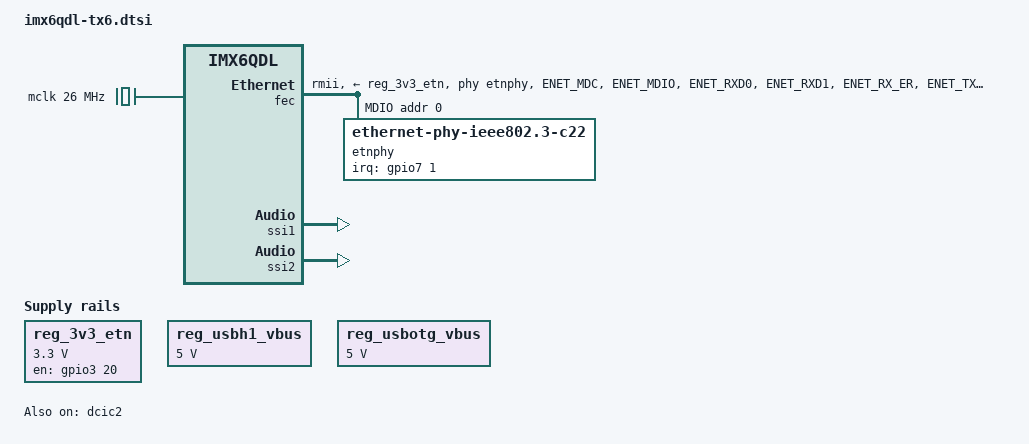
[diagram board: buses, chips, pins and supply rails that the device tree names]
/*
 * Copyright 2016 Lothar Waßmann <LW@KARO-electronics.de>
 * Copyright 2016-2017 Oliver Wendt <OW@KARO-electronics.de>
 * Copyright 2016 Michael Vyskocil <MV@KARO-electronics.de>
 *
 * This file is dual-licensed: you can use it either under the terms
 * of the GPL or the X11 license, at your option. Note that this dual
 * licensing only applies to this file, and not this project as a
 * whole.
 *
 *  a) This file is free software; you can redistribute it and/or
 *     modify it under the terms of the GNU General Public License
 *     version 2 as published by the Free Software Foundation.
 *
 *     This file is distributed in the hope that it will be useful,
 *     but WITHOUT ANY WARRANTY; without even the implied warranty of
 *     MERCHANTABILITY or FITNESS FOR A PARTICULAR PURPOSE.  See the
 *     GNU General Public License for more details.
 *
 * Or, alternatively,
 *
 *  b) Permission is hereby granted, free of charge, to any person
 *     obtaining a copy of this software and associated documentation
 *     files (the "Software"), to deal in the Software without
 *     restriction, including without limitation the rights to use,
 *     copy, modify, merge, publish, distribute, sublicense, and/or
 *     sell copies of the Software, and to permit persons to whom the
 *     Software is furnished to do so, subject to the following
 *     conditions:
 *
 *     The above copyright notice and this permission notice shall be
 *     included in all copies or substantial portions of the Software.
 *
 *     THE SOFTWARE IS PROVIDED "AS IS", WITHOUT WARRANTY OF ANY KIND,
 *     EXPRESS OR IMPLIED, INCLUDING BUT NOT LIMITED TO THE WARRANTIES
 *     OF MERCHANTABILITY, FITNESS FOR A PARTICULAR PURPOSE AND
 *     NONINFRINGEMENT. IN NO EVENT SHALL THE AUTHORS OR COPYRIGHT
 *     HOLDERS BE LIABLE FOR ANY CLAIM, DAMAGES OR OTHER LIABILITY,
 *     WHETHER IN AN ACTION OF CONTRACT, TORT OR OTHERWISE, ARISING
 *     FROM, OUT OF OR IN CONNECTION WITH THE SOFTWARE OR THE USE OR
 *     OTHER DEALINGS IN THE SOFTWARE.
 */

/*
 * Please be reminded that in general DTSI file(s) are include files that are
 * for more than one purpose (usually bound to a SoC) and as such shouldn't be
 * edited. For end-user products it should be the DTS file(s) that choose which
 * devices and pins are active and setup.
 *
 * The setup of DT files for Ka-Ro TX COM Modules under Yocto follow a
 * different, non-standard, implementation, which can make it necessary.
 */

#include <dt-bindings/gpio/gpio.h>
#include <dt-bindings/gpio/imx6qdl-tx6-gpio.h>
#include <dt-bindings/input/input.h>
#include <dt-bindings/pwm/pwm.h>

/*
 * Definitions for simpler referencing of TX's standard nodes
 */

/* On-board NVMe */
#define TX_EMMC		&usdhc4
#define TX_NAND		&gpmi
/* bus connectors */
#define TX_I2C		&i2c3
#define TX_CAN1		&can2
#define TX_CAN2		&can1
/* video & display */
#define TX_LCD		&lcd
#define TX_LCD_FB	&mxcfb0
#define TX_LDB		&ldb
#define TX_LDB_FB1	&mxcfb1
#define TX_LDB_FB2	&mxcfb2
#define TX_PWM		&pwm2
#define TX_PWM1		&pwm2	/* First  (1st) PWM used (TX's default) */
#define TX_PWM2		&pwm1	/* Second (2nd) PWM used */
/* NVM */
#define TX_SD1		&usdhc1
#define TX_SD2		&usdhc2
#define TX_SPI		&ecspi1
#define TX_SSI1		&audmux
#define TX_SSI_PIN	&pinctrl_ssi1
/* UART */
#define TX_UART1	&uart1
#define TX_UART2	&uart2
#define TX_UART3	&uart3
/* USB */
#define TX_USBH		&usbh1
#define TX_USBOTG	&usbotg

/ {
	aliases {
		can0 = &can2;
		can1 = &can1;
		emmc = &usdhc4;
		ethernet0 = &fec;
		sdhc0 = &usdhc1;
		sdhc1 = &usdhc2;
		usbh = &usbh1;
		usbotg = &usbotg;
	};

	memory {
		reg = <0 0>; /* will be filled by U-Boot */
	};

	/* override imx6dl.dtsi gpu clock definition bug */

	clocks {
		#address-cells = <1>;
		#size-cells = <0>;

		mclk: clock {
			compatible = "fixed-clock";
			#clock-cells = <0>;
			clock-frequency = <26000000>;
		};
	};

	chosen {
		stdout-path = TX_UART1;
	};

	regulators {
		compatible = "simple-bus";
		#address-cells = <1>;
		#size-cells = <0>;

		reg_3v3_etn: regulator-3v3etn {
			compatible = "regulator-fixed";
			regulator-name = "3V3_ETN";
			regulator-min-microvolt = <3300000>;
			regulator-max-microvolt = <3300000>;
			pinctrl-names = "default";
			pinctrl-0 = <&pinctrl_etnphy_power>;
			gpio = <&gpio3 20 GPIO_ACTIVE_HIGH>;
			enable-active-high;
		};

		reg_usbh1_vbus: regulator-usbh1vbus {
			compatible = "regulator-fixed";
			regulator-name = "usbh1_vbus";
			regulator-min-microvolt = <5000000>;
			regulator-max-microvolt = <5000000>;
			pinctrl-names = "default";
			pinctrl-0 = <&pinctrl_usbh1_vbus>;
			gpio = <TX_GPIO_PIN27 GPIO_ACTIVE_HIGH>;
			enable-active-high;
		};

		reg_usbotg_vbus: regulator-usbotgvbus {
			compatible = "regulator-fixed";
			regulator-name = "usbotg_vbus";
			regulator-min-microvolt = <5000000>;
			regulator-max-microvolt = <5000000>;
			pinctrl-names = "default";
			pinctrl-0 = <&pinctrl_usbotg_vbus>;
			gpio = <TX_GPIO_PIN34 GPIO_ACTIVE_HIGH>;
			enable-active-high;
		};
	};

	lcd: lcd@0 {
		status = "disabled";
	};

	mxcfb0: fb@0 {
		compatible = "fsl,mxc_sdc_fb";
		disp_dev = "lcd";
		interface_pix_fmt = "RGB24";
		default_bpp = <16>;
		int_clk = <0>;
		late_init = <0>;
		status = "disabled";
	};

	mxcfb1: fb@1 {
		compatible = "fsl,mxc_sdc_fb";
		disp_dev = "ldb";
		interface_pix_fmt = "RGB666";
		default_bpp = <16>;
		int_clk = <0>;
		late_init = <0>;
		status = "disabled";
	};

	mxcfb2: fb@2 {
		compatible = "fsl,mxc_sdc_fb";
		disp_dev = "ldb";
		interface_pix_fmt = "RGB666";
		default_bpp = <16>;
		int_clk = <0>;
		late_init = <0>;
		status = "disabled";
	};

	v4l2_cap_0 {
		compatible = "fsl,imx6q-v4l2-capture";
		ipu_id = <0>;
		csi_id = <0>;
		mclk_source = <0>;
		status = "disabled";
	};

	v4l2_cap_1 {
		compatible = "fsl,imx6q-v4l2-capture";
		ipu_id = <0>;
		csi_id = <1>;
		mclk_source = <0>;
		status = "disabled";
	};

	v4l2_out {
		compatible = "fsl,mxc_v4l2_output";
		status = "disabled";
	};
};

&can1 {
	pinctrl-names = "default";
	pinctrl-0 = <&pinctrl_flexcan1>;
	status = "disabled";
};

&can2 {
	pinctrl-names = "default";
	pinctrl-0 = <&pinctrl_flexcan2>;
	status = "disabled";
};

&clks {
	fsl,ldb-di0-parent = <&clks IMX6QDL_CLK_PLL2_PFD0_352M>;
	fsl,ldb-di1-parent = <&clks IMX6QDL_CLK_PLL2_PFD0_352M>;
};

&dcic2 {
	dcic_id = <1>;
	dcic_mux = "dcic-lvds1";
	status = "okay";
};

&ecspi1 {
	pinctrl-names = "default";
	pinctrl-0 = <&pinctrl_ecspi1>;
	fsl,spi-num-chipselects = <2>;
	cs-gpios = <
		TX_GPIO_PIN44 GPIO_ACTIVE_HIGH
		TX_GPIO_PIN45 GPIO_ACTIVE_HIGH
	>;
	status = "disabled";

	spidev0: spi@0 {
		compatible = "spidev";
		reg = <0>;
		spi-max-frequency = <54000000>;
	};

	spidev1: spi@1 {
		compatible = "spidev";
		reg = <1>;
		spi-max-frequency = <54000000>;
	};
};

&fec {
	pinctrl-names = "default";
	pinctrl-0 = <&pinctrl_enet>;
	clocks = <&clks IMX6QDL_CLK_ENET>,
		 <&clks IMX6QDL_CLK_ENET>,
		 <&clks IMX6QDL_CLK_ENET_REF>,
		 <&clks IMX6QDL_CLK_ENET_REF>;
	clock-names = "ipg", "ahb", "ptp", "enet_out";
	ref-clock = <50000000>;
	phy-mode = "rmii";
	phy-reset-gpios = <&gpio7 6 GPIO_ACTIVE_HIGH>;
	phy-handle = <&etnphy>;
	phy-supply = <&reg_3v3_etn>;
	status = "okay";

	mdio {
		#address-cells = <1>;
		#size-cells = <0>;

		etnphy: ethernet-phy@0 {
			compatible = "ethernet-phy-ieee802.3-c22";
			reg = <0>;
			interrupts-extended  = <&gpio7 1 IRQ_TYPE_EDGE_FALLING>;
			status = "okay";
		};
	};
};

&gpmi {
	pinctrl-names = "default";
	pinctrl-0 = <&pinctrl_gpmi_nand>;
	nand-on-flash-bbt;
	fsl,no-blockmark-swap;
	fsl,legacy-bch-geometry;
	status = "disabled";
};

&i2c3 {
	pinctrl-names = "default";
	pinctrl-0 = <&pinctrl_i2c3>;
	clock-frequency = <400000>;
	status = "disabled";
};

&pwm1 {
	pinctrl-names = "default";
	pinctrl-0 = <&pinctrl_pwm1>;
	status = "disabled";
};

&pwm2 {
	pinctrl-names = "default";
	pinctrl-0 = <&pinctrl_pwm2>;
	status = "disabled";
};

&reg_arm {
	/delete-property/ regulator-allow-bypass;
};

&reg_pu {
	/delete-property/ regulator-allow-bypass;
};

&reg_soc {
	/delete-property/ regulator-allow-bypass;
};

&snvs_poweroff {
	status = "okay";
};

&ssi1 {
	status = "okay";
};

&ssi2 {
	status = "okay";
};

&uart1 {
	pinctrl-names = "default";
	pinctrl-0 = <&pinctrl_uart1 &pinctrl_uart1_rtscts>;
	status = "disabled";
};

&uart2 {
	pinctrl-names = "default";
	pinctrl-0 = <&pinctrl_uart2 &pinctrl_uart2_rtscts>;
	status = "disabled";
};

&uart3 {
	pinctrl-names = "default";
	pinctrl-0 = <&pinctrl_uart3 &pinctrl_uart3_rtscts>;
	status = "disabled";
};

&usbotg {
	vbus-supply = <&reg_usbotg_vbus>;
	pinctrl-names = "default";
	pinctrl-0 = <&pinctrl_usbotg>;
	dr_mode = "peripheral";
	disable-over-current;
	status = "disabled";
};

&usbh1 {
	vbus-supply = <&reg_usbh1_vbus>;
	dr_mode = "host";
	disable-over-current;
	status = "disabled";
};

&usdhc1 {
	pinctrl-names = "default";
	pinctrl-0 = <&pinctrl_usdhc1>;
	bus-width = <4>;
	no-1-8-v;
	cd-gpios = <&gpio7 2 GPIO_ACTIVE_LOW>;
	fsl,wp-controller;
	status = "disabled";
};

&usdhc2 {
	pinctrl-names = "default";
	pinctrl-0 = <&pinctrl_usdhc2>;
	bus-width = <4>;
	no-1-8-v;
	cd-gpios = <&gpio7 3 GPIO_ACTIVE_LOW>;
	fsl,wp-controller;
	status = "disabled";
};

&usdhc4 {
	pinctrl-names = "default";
	pinctrl-0 = <&pinctrl_usdhc4>;
	bus-width = <4>;
	non-removable;
	no-1-8-v;
	fsl,wp-controller;
	status = "disabled";
};

&iomuxc {
	pinctrl-names = "default";
	pinctrl-0 = <&pinctrl_hog>;

	tx6 {
		pinctrl_hog: hoggrp {
			fsl,pins = <
				MX6QDL_PAD_SD3_DAT2__GPIO7_IO06		0x1b0b1 /* ETN PHY RESET */
				MX6QDL_PAD_SD3_DAT4__GPIO7_IO01		0x1b0b1 /* ETN PHY INT */
			>;
		};

		pinctrl_ssi1: audmuxgrp {
			fsl,pins = <
				MX6QDL_PAD_KEY_ROW1__AUD5_RXD		0x130b0 /* SSI1_RXD */
				MX6QDL_PAD_KEY_ROW0__AUD5_TXD		0x110b0 /* SSI1_TXD */
				MX6QDL_PAD_KEY_COL0__AUD5_TXC		0x130b0 /* SSI1_CLK */
				MX6QDL_PAD_KEY_COL1__AUD5_TXFS		0x130b0 /* SSI1_FS */
			>;
		};

		pinctrl_ecspi1: ecspi1grp {
			fsl,pins = <
				MX6QDL_PAD_EIM_D18__ECSPI1_MOSI		0x0b0b0
				MX6QDL_PAD_EIM_D17__ECSPI1_MISO		0x0b0b0
				MX6QDL_PAD_EIM_D16__ECSPI1_SCLK		0x0b0b0
				MX6QDL_PAD_GPIO_19__ECSPI1_RDY		0x0b0b0
				MX6QDL_PAD_EIM_EB2__GPIO2_IO30		0x0b0b0 /* SPI CS0 */
				MX6QDL_PAD_EIM_D19__GPIO3_IO19		0x0b0b0 /* SPI CS1 */
			>;
		};

		pinctrl_enet: enetgrp {
			fsl,pins = <
				MX6QDL_PAD_ENET_MDC__ENET_MDC		0x1b0b0
				MX6QDL_PAD_ENET_MDIO__ENET_MDIO		0x1b0b0
				MX6QDL_PAD_ENET_RXD0__ENET_RX_DATA0	0x1b0b0
				MX6QDL_PAD_ENET_RXD1__ENET_RX_DATA1	0x1b0b0
				MX6QDL_PAD_ENET_RX_ER__ENET_RX_ER	0x1b0b0
				MX6QDL_PAD_ENET_TX_EN__ENET_TX_EN	0x1b0b0
				MX6QDL_PAD_ENET_TXD0__ENET_TX_DATA0	0x1b0b0
				MX6QDL_PAD_ENET_TXD1__ENET_TX_DATA1	0x1b0b0
				MX6QDL_PAD_ENET_CRS_DV__ENET_RX_EN	0x1b0b0
			>;
		};

		pinctrl_etnphy_power: etnphy-pwrgrp {
			fsl,pins = <
				MX6QDL_PAD_EIM_D20__GPIO3_IO20		0x1b0b1 /* ETN PHY POWER */
			>;
		};

		pinctrl_flexcan1: flexcan1grp {
			fsl,pins = <
				MX6QDL_PAD_GPIO_7__FLEXCAN1_TX		0x1b0b0
				MX6QDL_PAD_GPIO_8__FLEXCAN1_RX		0x1b0b0
			>;
		};

		pinctrl_flexcan2: flexcan2grp {
			fsl,pins = <
				MX6QDL_PAD_KEY_COL4__FLEXCAN2_TX	0x1b0b0
				MX6QDL_PAD_KEY_ROW4__FLEXCAN2_RX	0x1b0b0
			>;
		};

		pinctrl_gpmi_nand: gpminandgrp {
			fsl,pins = <
				MX6QDL_PAD_NANDF_CLE__NAND_CLE		0x0b0b1
				MX6QDL_PAD_NANDF_ALE__NAND_ALE		0x0b0b1
				MX6QDL_PAD_NANDF_WP_B__NAND_WP_B	0x0b0b1
				MX6QDL_PAD_NANDF_RB0__NAND_READY_B	0x0b000
				MX6QDL_PAD_NANDF_CS0__NAND_CE0_B	0x0b0b1
				MX6QDL_PAD_SD4_CMD__NAND_RE_B		0x0b0b1
				MX6QDL_PAD_SD4_CLK__NAND_WE_B		0x0b0b1
				MX6QDL_PAD_NANDF_D0__NAND_DATA00	0x0b0b1
				MX6QDL_PAD_NANDF_D1__NAND_DATA01	0x0b0b1
				MX6QDL_PAD_NANDF_D2__NAND_DATA02	0x0b0b1
				MX6QDL_PAD_NANDF_D3__NAND_DATA03	0x0b0b1
				MX6QDL_PAD_NANDF_D4__NAND_DATA04	0x0b0b1
				MX6QDL_PAD_NANDF_D5__NAND_DATA05	0x0b0b1
				MX6QDL_PAD_NANDF_D6__NAND_DATA06	0x0b0b1
				MX6QDL_PAD_NANDF_D7__NAND_DATA07	0x0b0b1
			>;
		};

		pinctrl_i2c3: i2c3grp {
			fsl,pins = <
				MX6QDL_PAD_GPIO_3__I2C3_SCL		0x4001b8b1
				MX6QDL_PAD_GPIO_6__I2C3_SDA		0x4001b8b1
			>;
		};

		pinctrl_ipu1: ipu1grp {
			fsl,pins = <
				MX6QDL_PAD_DI0_DISP_CLK__IPU1_DI0_DISP_CLK	0x10
				MX6QDL_PAD_DI0_PIN15__IPU1_DI0_PIN15		0x10
				MX6QDL_PAD_DI0_PIN2__IPU1_DI0_PIN02		0x10
				MX6QDL_PAD_DI0_PIN3__IPU1_DI0_PIN03		0x10
				MX6QDL_PAD_DI0_PIN4__IPU1_DI0_PIN04		0x80000000
				MX6QDL_PAD_DISP0_DAT0__IPU1_DISP0_DATA00	0x10
				MX6QDL_PAD_DISP0_DAT1__IPU1_DISP0_DATA01	0x10
				MX6QDL_PAD_DISP0_DAT2__IPU1_DISP0_DATA02	0x10
				MX6QDL_PAD_DISP0_DAT3__IPU1_DISP0_DATA03	0x10
				MX6QDL_PAD_DISP0_DAT4__IPU1_DISP0_DATA04	0x10
				MX6QDL_PAD_DISP0_DAT5__IPU1_DISP0_DATA05	0x10
				MX6QDL_PAD_DISP0_DAT6__IPU1_DISP0_DATA06	0x10
				MX6QDL_PAD_DISP0_DAT7__IPU1_DISP0_DATA07	0x10
				MX6QDL_PAD_DISP0_DAT8__IPU1_DISP0_DATA08	0x10
				MX6QDL_PAD_DISP0_DAT9__IPU1_DISP0_DATA09	0x10
				MX6QDL_PAD_DISP0_DAT10__IPU1_DISP0_DATA10	0x10
				MX6QDL_PAD_DISP0_DAT11__IPU1_DISP0_DATA11	0x10
				MX6QDL_PAD_DISP0_DAT12__IPU1_DISP0_DATA12	0x10
				MX6QDL_PAD_DISP0_DAT13__IPU1_DISP0_DATA13	0x10
				MX6QDL_PAD_DISP0_DAT14__IPU1_DISP0_DATA14	0x10
				MX6QDL_PAD_DISP0_DAT15__IPU1_DISP0_DATA15	0x10
				MX6QDL_PAD_DISP0_DAT16__IPU1_DISP0_DATA16	0x10
				MX6QDL_PAD_DISP0_DAT17__IPU1_DISP0_DATA17	0x10
				MX6QDL_PAD_DISP0_DAT18__IPU1_DISP0_DATA18	0x10
				MX6QDL_PAD_DISP0_DAT19__IPU1_DISP0_DATA19	0x10
				MX6QDL_PAD_DISP0_DAT20__IPU1_DISP0_DATA20	0x10
				MX6QDL_PAD_DISP0_DAT21__IPU1_DISP0_DATA21	0x10
				MX6QDL_PAD_DISP0_DAT22__IPU1_DISP0_DATA22	0x10
				MX6QDL_PAD_DISP0_DAT23__IPU1_DISP0_DATA23	0x10
			>;
		};

		pinctrl_pwm1: pwm1grp {
			fsl,pins = <
				MX6QDL_PAD_GPIO_9__PWM1_OUT		0x1b0b1
			>;
		};

		pinctrl_pwm2: pwm2grp {
			fsl,pins = <
				MX6QDL_PAD_GPIO_1__PWM2_OUT		0x1b0b1
			>;
		};

		pinctrl_uart1: uart1grp {
			fsl,pins = <
				MX6QDL_PAD_SD3_DAT7__UART1_TX_DATA	0x1b0b1
				MX6QDL_PAD_SD3_DAT6__UART1_RX_DATA	0x1b0b1
			>;
		};

		pinctrl_uart1_rtscts: uart1_rtsctsgrp {
			fsl,pins = <
				MX6QDL_PAD_SD3_DAT1__UART1_RTS_B	0x1b0b1
				MX6QDL_PAD_SD3_DAT0__UART1_CTS_B	0x1b0b1
			>;
		};

		pinctrl_uart2: uart2grp {
			fsl,pins = <
				MX6QDL_PAD_SD4_DAT7__UART2_TX_DATA	0x1b0b1
				MX6QDL_PAD_SD4_DAT4__UART2_RX_DATA	0x1b0b1
			>;
		};

		pinctrl_uart2_rtscts: uart2_rtsctsgrp {
			fsl,pins = <
				MX6QDL_PAD_SD4_DAT5__UART2_RTS_B	0x1b0b1
				MX6QDL_PAD_SD4_DAT6__UART2_CTS_B	0x1b0b1
			>;
		};

		pinctrl_uart3: uart3grp {
			fsl,pins = <
				MX6QDL_PAD_EIM_D24__UART3_TX_DATA	0x1b0b1
				MX6QDL_PAD_EIM_D25__UART3_RX_DATA	0x1b0b1
			>;
		};

		pinctrl_uart3_rtscts: uart3_rtsctsgrp {
			fsl,pins = <
				MX6QDL_PAD_SD3_DAT3__UART3_CTS_B	0x1b0b1
				MX6QDL_PAD_SD3_RST__UART3_RTS_B		0x1b0b1
			>;
		};

		pinctrl_usbh1_vbus: usbh1-vbusgrp {
			fsl,pins = <
				MX6QDL_PAD_EIM_D31__GPIO3_IO31		0x1b0b0 /* USBH1_VBUSEN */
			>;
		};

		pinctrl_usbotg: usbotggrp {
			fsl,pins = <
				MX6QDL_PAD_EIM_D23__GPIO3_IO23		0x17059
			>;
		};

		pinctrl_usbotg_vbus: usbotg-vbusgrp {
			fsl,pins = <
				MX6QDL_PAD_GPIO_7__GPIO1_IO07		0x1b0b0 /* USBOTG_VBUSEN */
			>;
		};

		pinctrl_usdhc1: usdhc1grp {
			fsl,pins = <
				MX6QDL_PAD_SD1_CMD__SD1_CMD		0x070b1
				MX6QDL_PAD_SD1_CLK__SD1_CLK		0x070b1
				MX6QDL_PAD_SD1_DAT0__SD1_DATA0		0x070b1
				MX6QDL_PAD_SD1_DAT1__SD1_DATA1		0x070b1
				MX6QDL_PAD_SD1_DAT2__SD1_DATA2		0x070b1
				MX6QDL_PAD_SD1_DAT3__SD1_DATA3		0x070b1
				MX6QDL_PAD_SD3_CMD__GPIO7_IO02		0x170b0 /* SD1 CD */
			>;
		};

		pinctrl_usdhc2: usdhc2grp {
			fsl,pins = <
				MX6QDL_PAD_SD2_CMD__SD2_CMD		0x070b1
				MX6QDL_PAD_SD2_CLK__SD2_CLK		0x070b1
				MX6QDL_PAD_SD2_DAT0__SD2_DATA0		0x070b1
				MX6QDL_PAD_SD2_DAT1__SD2_DATA1		0x070b1
				MX6QDL_PAD_SD2_DAT2__SD2_DATA2		0x070b1
				MX6QDL_PAD_SD2_DAT3__SD2_DATA3		0x070b1
				MX6QDL_PAD_SD3_CLK__GPIO7_IO03		0x170b0 /* SD2 CD */
			>;
		};

		pinctrl_usdhc4: usdhc4grp {
			fsl,pins = <
				MX6QDL_PAD_SD4_CMD__SD4_CMD		0x070b1
				MX6QDL_PAD_SD4_CLK__SD4_CLK		0x070b1
				MX6QDL_PAD_SD4_DAT0__SD4_DATA0		0x070b1
				MX6QDL_PAD_SD4_DAT1__SD4_DATA1		0x070b1
				MX6QDL_PAD_SD4_DAT2__SD4_DATA2		0x070b1
				MX6QDL_PAD_SD4_DAT3__SD4_DATA3		0x070b1
				MX6QDL_PAD_NANDF_ALE__SD4_RESET		0x0b0b1
			>;
		};
	};
};
